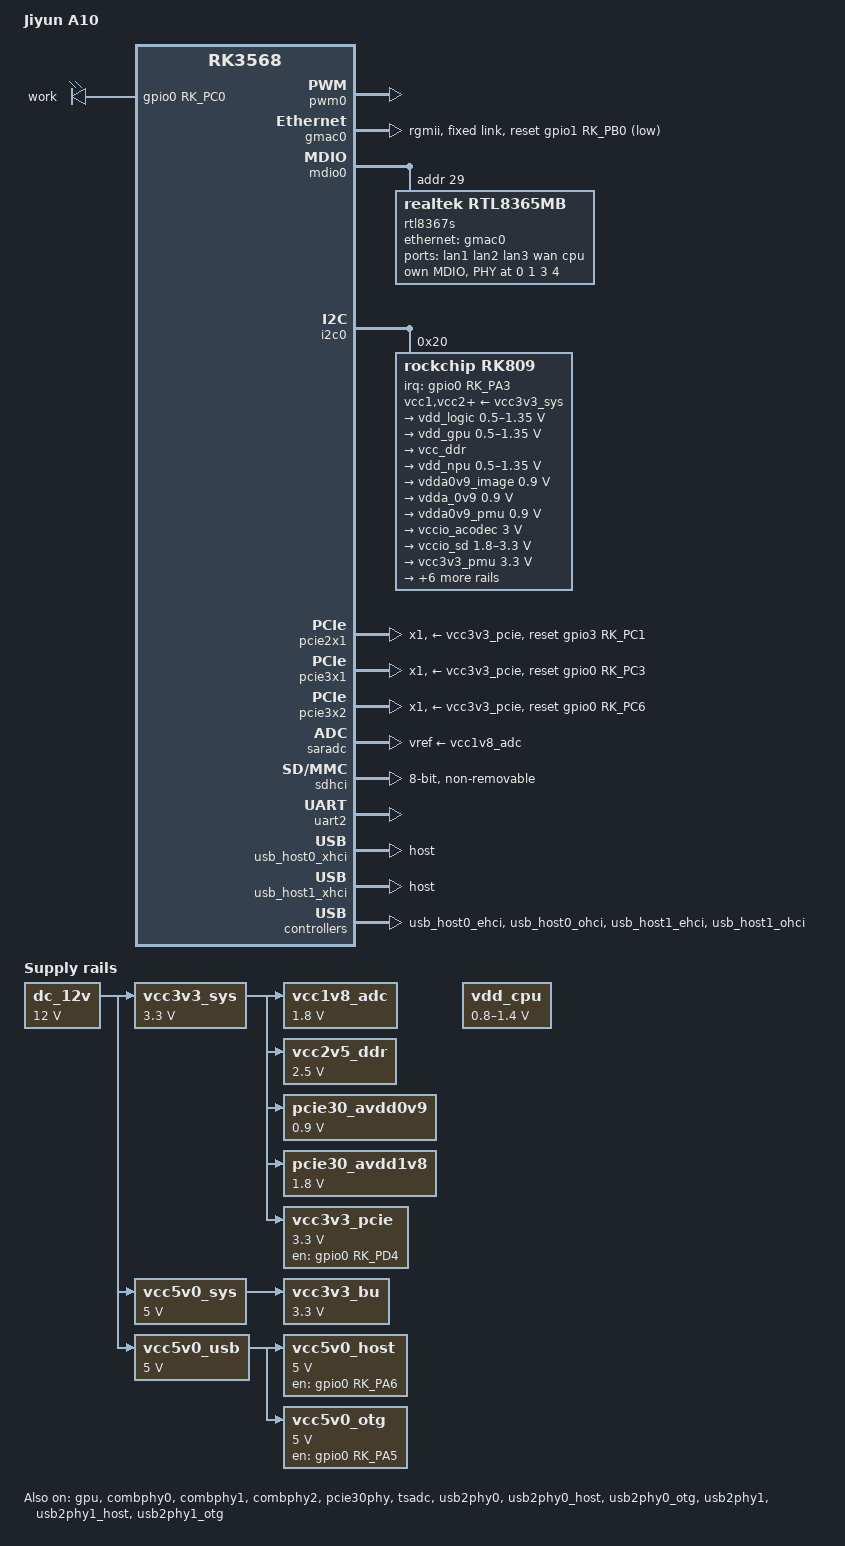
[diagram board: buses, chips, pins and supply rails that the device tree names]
// SPDX-License-Identifier: (GPL-2.0+ OR MIT)

/dts-v1/;

#include <dt-bindings/gpio/gpio.h>
#include <dt-bindings/input/input.h>
#include <dt-bindings/leds/common.h>
#include <dt-bindings/pinctrl/rockchip.h>
#include "rk3568.dtsi"

/*
 * Jiyun A10 (吉云 A10) - RK3568B2 + 2GB DDR4
 *
 * Reference material:
 *   - stock Rockchip DTB (reverse/stock_device_tree.dts)  : board wiring
 *   - NSY G68 Plus (zhoufuli/immortalwrt-rk356x)          : known-good mainline
 *     port of the very same RK3568 + RTL8367S + 2x MT7916 combination
 *
 * Boot layout:
 *   SPI NOR (32MB)  : Rockchip u-boot + "Kernel" partition holding a FIT
 *                     (LZMA kernel + DTB). The stock u-boot loads it and
 *                     hands over to the kernel with root=/dev/mmcblk0p1.
 *   eMMC            : partition 1 holds the real rootfs (ext4).
 */

/ {
	model = "Jiyun A10";
	compatible = "jiyun,a10", "rockchip,rk3568";

	aliases {
		ethernet0 = &gmac0;
		mmc0 = &sdhci;
		serial2 = &uart2;
	};

	chosen {
		stdout-path = "serial2:1500000n8";
		bootargs = "console=ttyS2,1500000 root=/dev/mmcblk0p1 rootfstype=ext4 rootwait";
	};

	dc_12v: regulator-dc-12v {
		compatible = "regulator-fixed";
		regulator-name = "dc_12v";
		regulator-always-on;
		regulator-boot-on;
		regulator-min-microvolt = <12000000>;
		regulator-max-microvolt = <12000000>;
	};

	vcc3v3_sys: regulator-vcc3v3-sys {
		compatible = "regulator-fixed";
		regulator-name = "vcc3v3_sys";
		regulator-always-on;
		regulator-boot-on;
		regulator-min-microvolt = <3300000>;
		regulator-max-microvolt = <3300000>;
		vin-supply = <&dc_12v>;
	};

	vcc5v0_sys: regulator-vcc5v0-sys {
		compatible = "regulator-fixed";
		regulator-name = "vcc5v0_sys";
		regulator-always-on;
		regulator-boot-on;
		regulator-min-microvolt = <5000000>;
		regulator-max-microvolt = <5000000>;
		vin-supply = <&dc_12v>;
	};

	vcc5v0_usb: regulator-vcc5v0-usb {
		compatible = "regulator-fixed";
		regulator-name = "vcc5v0_usb";
		regulator-always-on;
		regulator-boot-on;
		regulator-min-microvolt = <5000000>;
		regulator-max-microvolt = <5000000>;
		vin-supply = <&dc_12v>;
	};

	vcc5v0_host: regulator-vcc5v0-host {
		compatible = "regulator-fixed";
		regulator-name = "vcc5v0_host";
		regulator-always-on;
		regulator-boot-on;
		regulator-min-microvolt = <5000000>;
		regulator-max-microvolt = <5000000>;
		enable-active-high;
		gpio = <&gpio0 RK_PA6 GPIO_ACTIVE_HIGH>;
		pinctrl-names = "default";
		pinctrl-0 = <&vcc5v0_host_en>;
		vin-supply = <&vcc5v0_usb>;
	};

	vcc5v0_otg: regulator-vcc5v0-otg {
		compatible = "regulator-fixed";
		regulator-name = "vcc5v0_otg";
		regulator-min-microvolt = <5000000>;
		regulator-max-microvolt = <5000000>;
		enable-active-high;
		gpio = <&gpio0 RK_PA5 GPIO_ACTIVE_HIGH>;
		pinctrl-names = "default";
		pinctrl-0 = <&vcc5v0_otg_en>;
		vin-supply = <&vcc5v0_usb>;
	};

	vcc1v8_adc: regulator-vcc1v8-adc {
		compatible = "regulator-fixed";
		regulator-name = "vcc1v8_adc";
		regulator-always-on;
		regulator-boot-on;
		regulator-min-microvolt = <1800000>;
		regulator-max-microvolt = <1800000>;
		vin-supply = <&vcc3v3_sys>;
	};

	vcc2v5_ddr: regulator-vcc2v5-ddr {
		compatible = "regulator-fixed";
		regulator-name = "vcc2v5-sys";
		regulator-always-on;
		regulator-boot-on;
		regulator-min-microvolt = <2500000>;
		regulator-max-microvolt = <2500000>;
		vin-supply = <&vcc3v3_sys>;
	};

	pcie30_avdd0v9: regulator-pcie30-avdd0v9 {
		compatible = "regulator-fixed";
		regulator-name = "pcie30_avdd0v9";
		regulator-always-on;
		regulator-boot-on;
		regulator-min-microvolt = <900000>;
		regulator-max-microvolt = <900000>;
		vin-supply = <&vcc3v3_sys>;
	};

	pcie30_avdd1v8: regulator-pcie30-avdd1v8 {
		compatible = "regulator-fixed";
		regulator-name = "pcie30_avdd1v8";
		regulator-always-on;
		regulator-boot-on;
		regulator-min-microvolt = <1800000>;
		regulator-max-microvolt = <1800000>;
		vin-supply = <&vcc3v3_sys>;
	};

	vcc3v3_pcie: regulator-vcc3v3-pcie {
		compatible = "regulator-fixed";
		regulator-name = "vcc3v3_pcie";
		regulator-always-on;
		regulator-boot-on;
		regulator-min-microvolt = <3300000>;
		regulator-max-microvolt = <3300000>;
		enable-active-high;
		gpio = <&gpio0 RK_PD4 GPIO_ACTIVE_HIGH>;
		pinctrl-names = "default";
		pinctrl-0 = <&vcc3v3_pcie_en>;
		startup-delay-us = <5000>;
		vin-supply = <&vcc3v3_sys>;
	};

	vcc3v3_bu: regulator-vcc3v3-bu {
		compatible = "regulator-fixed";
		regulator-name = "vcc3v3_bu";
		regulator-always-on;
		regulator-boot-on;
		regulator-min-microvolt = <3300000>;
		regulator-max-microvolt = <3300000>;
		vin-supply = <&vcc5v0_sys>;
	};

	/*
	 * CPU rail: PWM controlled (RK3568 TRM). Same setup as the stock
	 * DTB and as the NSY G68 Plus.
	 */
	vdd_cpu: vdd-cpu {
		compatible = "pwm-regulator";
		rockchip,pwm_id = <0>;
		rockchip,pwm_voltage = <900000>;
		pwms = <&pwm0 0 25000 1>;
		regulator-name = "vdd_cpu";
		regulator-min-microvolt = <800000>;
		regulator-max-microvolt = <1400000>;
		regulator-init-microvolt = <1150000>;
		regulator-enable-ramp-delay = <300>;
		regulator-ramp-delay = <8000>;
		regulator-always-on;
		regulator-boot-on;
	};

	leds {
		compatible = "gpio-leds";

		work {
			label = "work";
			gpios = <&gpio0 RK_PC0 GPIO_ACTIVE_HIGH>;
			linux,default-trigger = "heartbeat";
			pinctrl-names = "default";
			pinctrl-0 = <&led_work_en>;
		};
	};

	/*
	 * RTL8367S 5-port switch - handled by the mainline DSA driver
	 * (kmod-dsa-rtl8365mb, variant "RTL8367S" 0x6367/0x00a0).  The node must
	 * live below the MDIO bus, and the CPU port (7, RGMII) references the
	 * gmac0 conduit.  Ports 0/1/3 are the 3 LAN jacks, port 4 the WAN jack,
	 * port 2 is not populated on this board.
	 */
};

&cpu0 {
	cpu-supply = <&vdd_cpu>;
};

&cpu1 {
	cpu-supply = <&vdd_cpu>;
};

&cpu2 {
	cpu-supply = <&vdd_cpu>;
};

&cpu3 {
	cpu-supply = <&vdd_cpu>;
};

&gpu {
	mali-supply = <&vdd_gpu>;
	status = "okay";
};

&pwm0 {
	status = "okay";
};

/*
 * Ethernet: RTL8367S 5-port switch, CPU port (7) on RGMII.
 * NOTE: in mainline the RK3568 MAC named gmac0 is the one at fe2a0000
 *       (the vendor/Rockchip DTB calls it gmac1).
 * phy-mode must be "rgmii" (not "rgmii-id"): with "rgmii-id" the stmmac
 * driver drops tx_delay/rx_delay, and the switch does not add any delay
 * either -> no RGMII timing compensation at 1 Gbit/s.
 */
&gmac0 {
	assigned-clocks = <&cru SCLK_GMAC0_RX_TX>, <&cru SCLK_GMAC0>;
	assigned-clock-parents = <&cru SCLK_GMAC0_RGMII_SPEED>;
	assigned-clock-rates = <0>, <125000000>;
	clock_in_out = "output";
	phy-mode = "rgmii";
	pinctrl-names = "default";
	pinctrl-0 = <&gmac0_miim
		     &gmac0_tx_bus2
		     &gmac0_rx_bus2
		     &gmac0_rgmii_clk
		     &gmac0_rgmii_bus>;
	tx_delay = <0x3c>;
	rx_delay = <0x2f>;
	snps,reset-gpio = <&gpio1 RK_PB0 GPIO_ACTIVE_LOW>;
	snps,reset-active-low;
	snps,reset-delays-us = <0 20000 100000>;
	status = "okay";

	fixed-link {
		speed = <1000>;
		full-duplex;
		pause;
	};
};

&gmac1 {
	status = "disabled";
};

&mdio0 {
	status = "okay";

	rtl8367s: switch@1d {
		compatible = "realtek,rtl8365mb";
		reg = <0x1d>;

		ports {
			#address-cells = <1>;
			#size-cells = <0>;

			port@0 {
				reg = <0>;
				label = "lan1";
				phy-handle = <&swphy0>;
			};

			port@1 {
				reg = <1>;
				label = "lan2";
				phy-handle = <&swphy1>;
			};

			port@3 {
				reg = <3>;
				label = "lan3";
				phy-handle = <&swphy3>;
			};

			port@4 {
				reg = <4>;
				label = "wan";
				phy-handle = <&swphy4>;
			};

			port@7 {
				reg = <7>;
				label = "cpu";
				ethernet = <&gmac0>;
				phy-mode = "rgmii";
			};
		};

		mdio {
			compatible = "realtek,smi-mdio";
			#address-cells = <1>;
			#size-cells = <0>;

			swphy0: ethernet-phy@0 {
				reg = <0>;
			};

			swphy1: ethernet-phy@1 {
				reg = <1>;
			};

			swphy3: ethernet-phy@3 {
				reg = <3>;
			};

			swphy4: ethernet-phy@4 {
				reg = <4>;
			};
		};
	};
};
/*
 * RK809 PMIC.
 * The mainline rk8xx regulator driver looks the regulators up by their
 * *node name* (DCDC_REG1..5, LDO_REG1..9, SWITCH_REG1..2), so the names
 * must be kept exactly as in the stock DTB. The stock layout is:
 *   DCDC1=vdd_logic DCDC2=vdd_gpu DCDC3=vcc_ddr DCDC4=vdd_npu DCDC5=vcc_1v8
 *   LDO1=vdda0v9_image ... LDO5=vccio_sd (eMMC/SD IO) LDO6=vcc3v3_pmu ...
 *   SWITCH1=vcc_3v3 SWITCH2=vcc3v3_sd
 * The CPU rail is the PWM regulator above, not a PMIC rail.
 */
&i2c0 {
	status = "okay";

	rk809: pmic@20 {
		compatible = "rockchip,rk809";
		reg = <0x20>;
		interrupt-parent = <&gpio0>;
		interrupts = <RK_PA3 IRQ_TYPE_LEVEL_LOW>;
		#clock-cells = <1>;
		pinctrl-names = "default";
		pinctrl-0 = <&pmic_int>;
		system-power-controller;
		wakeup-source;
		clock-output-names = "rk808-clkout1", "rk808-clkout2";
		pmic-reset-func = <0>;
		not-save-power-en = <1>;
		vcc1-supply = <&vcc3v3_sys>;
		vcc2-supply = <&vcc3v3_sys>;
		vcc3-supply = <&vcc3v3_sys>;
		vcc4-supply = <&vcc3v3_sys>;
		vcc5-supply = <&vcc3v3_sys>;
		vcc6-supply = <&vcc3v3_sys>;
		vcc7-supply = <&vcc3v3_sys>;
		vcc8-supply = <&vcc3v3_sys>;
		vcc9-supply = <&vcc3v3_sys>;

		pwrkey {
			status = "okay";
		};

		pinctrl_rk8xx {
			gpio-controller;
			#gpio-cells = <2>;

			rk817_slppin_null: rk817_slppin_null {
				pins = "gpio_slp";
				function = "pin_fun0";
			};

			rk817_slppin_slp: rk817_slppin_slp {
				pins = "gpio_slp";
				function = "pin_fun1";
			};

			rk817_slppin_pwrdn: rk817_slppin_pwrdn {
				pins = "gpio_slp";
				function = "pin_fun2";
			};

			rk817_slppin_rst: rk817_slppin_rst {
				pins = "gpio_slp";
				function = "pin_fun3";
			};
		};

		regulators {
			DCDC_REG1 {
				regulator-always-on;
				regulator-boot-on;
				regulator-min-microvolt = <500000>;
				regulator-max-microvolt = <1350000>;
				regulator-init-microvolt = <900000>;
				regulator-ramp-delay = <6001>;
				regulator-initial-mode = <0x2>;
				regulator-name = "vdd_logic";

				regulator-state-mem {
					regulator-off-in-suspend;
				};
			};

			vdd_gpu: DCDC_REG2 {
				regulator-always-on;
				regulator-boot-on;
				regulator-min-microvolt = <500000>;
				regulator-max-microvolt = <1350000>;
				regulator-init-microvolt = <1000000>;
				regulator-ramp-delay = <6001>;
				regulator-initial-mode = <0x2>;
				regulator-name = "vdd_gpu";

				regulator-state-mem {
					regulator-off-in-suspend;
				};
			};

			DCDC_REG3 {
				regulator-always-on;
				regulator-boot-on;
				regulator-initial-mode = <0x2>;
				regulator-name = "vcc_ddr";

				regulator-state-mem {
					regulator-on-in-suspend;
				};
			};

			DCDC_REG4 {
				regulator-always-on;
				regulator-boot-on;
				regulator-min-microvolt = <500000>;
				regulator-max-microvolt = <1350000>;
				regulator-init-microvolt = <1000000>;
				regulator-ramp-delay = <6001>;
				regulator-initial-mode = <0x2>;
				regulator-name = "vdd_npu";

				regulator-state-mem {
					regulator-off-in-suspend;
				};
			};

			LDO_REG1 {
				regulator-boot-on;
				regulator-always-on;
				regulator-min-microvolt = <900000>;
				regulator-max-microvolt = <900000>;
				regulator-name = "vdda0v9_image";

				regulator-state-mem {
					regulator-off-in-suspend;
				};
			};

			LDO_REG2 {
				regulator-always-on;
				regulator-boot-on;
				regulator-min-microvolt = <900000>;
				regulator-max-microvolt = <900000>;
				regulator-name = "vdda_0v9";

				regulator-state-mem {
					regulator-off-in-suspend;
				};
			};

			LDO_REG3 {
				regulator-always-on;
				regulator-boot-on;
				regulator-min-microvolt = <900000>;
				regulator-max-microvolt = <900000>;
				regulator-name = "vdda0v9_pmu";

				regulator-state-mem {
					regulator-on-in-suspend;
					regulator-suspend-microvolt = <900000>;
				};
			};

			LDO_REG4 {
				regulator-always-on;
				regulator-boot-on;
				regulator-min-microvolt = <3000000>;
				regulator-max-microvolt = <3000000>;
				regulator-name = "vccio_acodec";

				regulator-state-mem {
					regulator-off-in-suspend;
				};
			};

			vccio_sd: LDO_REG5 {
				regulator-always-on;
				regulator-boot-on;
				regulator-min-microvolt = <1800000>;
				regulator-max-microvolt = <3300000>;
				regulator-name = "vccio_sd";

				regulator-state-mem {
					regulator-off-in-suspend;
				};
			};

			vcc3v3_pmu: LDO_REG6 {
				regulator-always-on;
				regulator-boot-on;
				regulator-min-microvolt = <3300000>;
				regulator-max-microvolt = <3300000>;
				regulator-name = "vcc3v3_pmu";

				regulator-state-mem {
					regulator-on-in-suspend;
					regulator-suspend-microvolt = <3300000>;
				};
			};

			LDO_REG7 {
				regulator-always-on;
				regulator-boot-on;
				regulator-min-microvolt = <1800000>;
				regulator-max-microvolt = <1800000>;
				regulator-name = "vcca_1v8";

				regulator-state-mem {
					regulator-off-in-suspend;
				};
			};

			LDO_REG8 {
				regulator-always-on;
				regulator-boot-on;
				regulator-min-microvolt = <1800000>;
				regulator-max-microvolt = <1800000>;
				regulator-name = "vcca1v8_pmu";

				regulator-state-mem {
					regulator-on-in-suspend;
				};
			};

			LDO_REG9 {
				regulator-always-on;
				regulator-boot-on;
				regulator-min-microvolt = <1800000>;
				regulator-max-microvolt = <1800000>;
				regulator-name = "vcca1v8_image";

				regulator-state-mem {
					regulator-off-in-suspend;
				};
			};

			DCDC_REG5 {
				regulator-always-on;
				regulator-boot-on;
				regulator-min-microvolt = <1800000>;
				regulator-max-microvolt = <1800000>;
				regulator-name = "vcc_1v8";

				regulator-state-mem {
					regulator-off-in-suspend;
				};
			};

			vcc_3v3: SWITCH_REG1 {
				regulator-always-on;
				regulator-boot-on;
				regulator-name = "vcc_3v3";

				regulator-state-mem {
					regulator-off-in-suspend;
				};
			};

			vcc3v3_sd: SWITCH_REG2 {
				regulator-always-on;
				regulator-boot-on;
				regulator-name = "vcc3v3_sd";

				regulator-state-mem {
					regulator-off-in-suspend;
				};
			};
		};
	};
};

&pinctrl {
	usb {
		vcc5v0_host_en: vcc5v0-host-en {
			rockchip,pins = <0 RK_PA6 RK_FUNC_GPIO &pcfg_pull_none>;
		};

		vcc5v0_otg_en: vcc5v0-otg-en {
			rockchip,pins = <0 RK_PA5 RK_FUNC_GPIO &pcfg_pull_none>;
		};
	};

	regulator-en {
		vcc3v3_pcie_en: vcc3v3-pcie-en {
			rockchip,pins = <0 RK_PD4 RK_FUNC_GPIO &pcfg_pull_none>;
		};
	};

	pmic {
		pmic_int: pmic-int {
			rockchip,pins = <0 RK_PA3 RK_FUNC_GPIO &pcfg_pull_none>;
		};
	};

	leds {
		led_work_en: led_work_en {
			rockchip,pins = <0 RK_PC0 RK_FUNC_GPIO &pcfg_pull_none>;
		};
	};
};

/*
 * PCIe:
 *   fe260000 (pcie2x1) -> MT7916 #1  (mt_drv 0000:01:00.0), combphy2, reset gpio3 PC1
 *   fe270000 (pcie3x1) -> MT7916 #2  (mt_pci_slave 0001:11:00.0), pcie30phy, reset gpio0 PC3
 *   fe280000 (pcie3x2) -> unused, pcie30phy, reset gpio0 PC6
 *
 * pcie3x1/pcie3x2 share the pcie30phy and run in "bifurcation" mode
 * (1 lane each) - the mainline driver expects "data-lanes = <1 2>" for
 * that, otherwise it falls back to aggregation (4 lanes) and the link
 * does not come up.
 */
&pcie2x1 {
	num-lanes = <1>;
	reset-gpios = <&gpio3 RK_PC1 GPIO_ACTIVE_HIGH>;
	vpcie3v3-supply = <&vcc3v3_pcie>;
	status = "okay";
};

&pcie3x1 {
	num-lanes = <1>;
	reset-gpios = <&gpio0 RK_PC3 GPIO_ACTIVE_HIGH>;
	vpcie3v3-supply = <&vcc3v3_pcie>;
	status = "okay";
};

&pcie3x2 {
	num-lanes = <1>;
	reset-gpios = <&gpio0 RK_PC6 GPIO_ACTIVE_HIGH>;
	vpcie3v3-supply = <&vcc3v3_pcie>;
	status = "okay";
};

&combphy0 {
	status = "okay";
};

&combphy1 {
	status = "okay";
};

&combphy2 {
	status = "okay";
};

&pcie30phy {
	data-lanes = <1 2>;
	status = "okay";
};

&pmu_io_domains {
	pmuio1-supply = <&vcc3v3_pmu>;
	pmuio2-supply = <&vcc3v3_pmu>;
	vccio1-supply = <&vcc_3v3>;
	vccio3-supply = <&vcc_3v3>;
	vccio4-supply = <&vcc_3v3>;
	vccio5-supply = <&vcc_3v3>;
	vccio6-supply = <&vcc_3v3>;
	vccio7-supply = <&vcc_3v3>;
	status = "okay";
};

&saradc {
	status = "okay";
	vref-supply = <&vcc1v8_adc>;
};

/*
 * eMMC (BWZT85). The mainline sdhci-of-dwcmshc driver brings its own
 * pinctrl for the RK3568, so only the mmc properties are needed here.
 */
&sdhci {
	bus-width = <8>;
	cap-mmc-highspeed;
	max-frequency = <200000000>;
	non-removable;
	pinctrl-names = "default";
	pinctrl-0 = <&emmc_bus8 &emmc_clk &emmc_cmd &emmc_datastrobe>;
	status = "okay";
};

&tsadc {
	rockchip,hw-tshut-mode = <1>;
	rockchip,hw-tshut-polarity = <0>;
	status = "okay";
};

&uart2 {
	status = "okay";
};

&usb_host0_xhci {
	dr_mode = "host";
	status = "okay";
};

&usb_host1_xhci {
	dr_mode = "host";
	status = "okay";
};

&usb_host0_ehci {
	status = "okay";
};

&usb_host0_ohci {
	status = "okay";
};

&usb_host1_ehci {
	status = "okay";
};

&usb_host1_ohci {
	status = "okay";
};

&usb2phy0 {
	status = "okay";
};

&usb2phy0_host {
	phy-supply = <&vcc5v0_host>;
	status = "okay";
};

&usb2phy0_otg {
	phy-supply = <&vcc5v0_otg>;
	status = "okay";
};

&usb2phy1 {
	status = "okay";
};

&usb2phy1_host {
	phy-supply = <&vcc5v0_host>;
	status = "okay";
};

&usb2phy1_otg {
	phy-supply = <&vcc5v0_host>;
	status = "okay";
};
